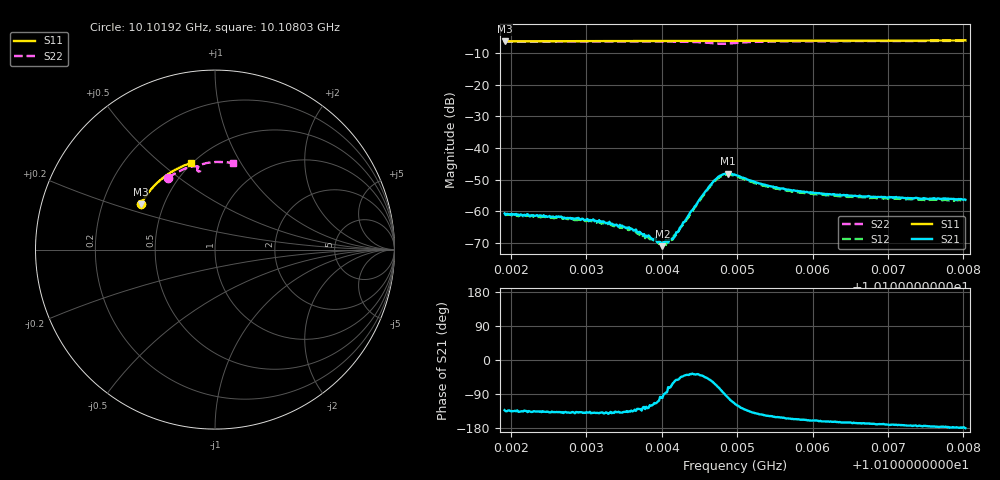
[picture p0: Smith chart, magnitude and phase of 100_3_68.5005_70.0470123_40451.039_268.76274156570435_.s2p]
#  HZ  S  RI  R  50.00
! Rohde & Schwarz Vector Network Analyzer
! Rohde-Schwarz,ZNB20-2Port,1311601062101988,3.16
! Created: UTC 3/20/2024, 5:08:10 PM
! freq[Hz]  re:S11  im:S11  re:S21  im:S21  re:S12  im:S12  re:S22  im:S22
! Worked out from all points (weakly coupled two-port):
!   401 points, 10.10192 GHz to 10.10803 GHz, reference 50 ohm
!   highest |S21| = -48.05 dB at 10.10488 GHz (marker M1); lowest = -70.9 dB at 10.10401 GHz (marker M2)
!   lowest |S11| = -6.3 dB at 10.10192 GHz (marker M3), VSWR 2.88, Z = 18.6 + j12.3 ohm
!   |S11| at or under -10 dB: nowhere
!   |S22| runs from -7.1 to -6.2 dB; largest |S21 - S12| = 0.00041
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1.0101915e10  -0.4132 0.2533  -0.000628 -0.000686  -0.000579 -0.000683  -0.2603 0.3996
1.0102633e10  -0.3905 0.2907  -0.000613 -0.000567  -0.00054 -0.000586  -0.2208 0.425
1.0102939e10  -0.3798 0.3059  -0.00057 -0.000515  -0.000524 -0.00052  -0.2031 0.4347
1.0103199e10  -0.3704 0.3185  -0.000523 -0.000464  -0.000453 -0.000457  -0.1875 0.4422
1.0103474e10  -0.3598 0.3317  -0.000451 -0.000393  -0.000371 -0.000403  -0.1703 0.4499
1.0103612e10  -0.3544 0.3379  -0.000373 -0.000366  -0.000313 -0.000379  -0.1613 0.4531
1.0103963e10  -0.34 0.3538  -0.000103 -0.000323  -3.1e-05 -0.000308  -0.1369 0.4608
1.0104009e10  -0.3381 0.3558  -4.93e-05 -0.000279  -2.75e-06 -0.000313  -0.1336 0.4616
1.0104085e10  -0.335 0.3592  0.000102 -0.000308  0.000108 -0.000348  -0.1278 0.4629
1.0104116e10  -0.3335 0.3604  0.000114 -0.000343  0.000155 -0.000311  -0.1255 0.4633
1.0104162e10  -0.3316 0.3622  0.000204 -0.000332  0.000268 -0.000319  -0.1218 0.4637
1.010433e10  -0.3244 0.3695  0.000606 -0.000493  0.00063 -0.000399  -0.1074 0.4644
1.0104513e10  -0.3162 0.3772  0.00123 -0.00105  0.00125 -0.000894  -0.0903 0.46
1.0104681e10  -0.3086 0.3838  0.00151 -0.00252  0.00168 -0.00226  -0.0797 0.4454
1.0104788e10  -0.3037 0.388  0.000624 -0.00366  0.00094 -0.00345  -0.0855 0.4356
1.010488e10  -0.2996 0.3915  -0.000646 -0.0039  -0.000349 -0.00382  -0.0951 0.4369
1.0104972e10  -0.2955 0.395  -0.00164 -0.00342  -0.00128 -0.0034  -0.0992 0.4458
1.010543e10  -0.2735 0.4123  -0.00213 -0.00133  -0.00191 -0.00145  -0.0715 0.475
1.0105644e10  -0.2627 0.4195  -0.002 -0.000971  -0.00184 -0.0011  -0.0558 0.4801
1.0105995e10  -0.2451 0.431  -0.00187 -0.000679  -0.00173 -0.000833  -0.0314 0.4848
1.0107019e10  -0.1904 0.4605  -0.00168 -0.000252  -0.00156 -0.000433  0.037 0.4883
1.0108028e10  -0.1334 0.4822  -0.00153 -3.42e-06  -0.00148 -0.00019  0.1019 0.4816
